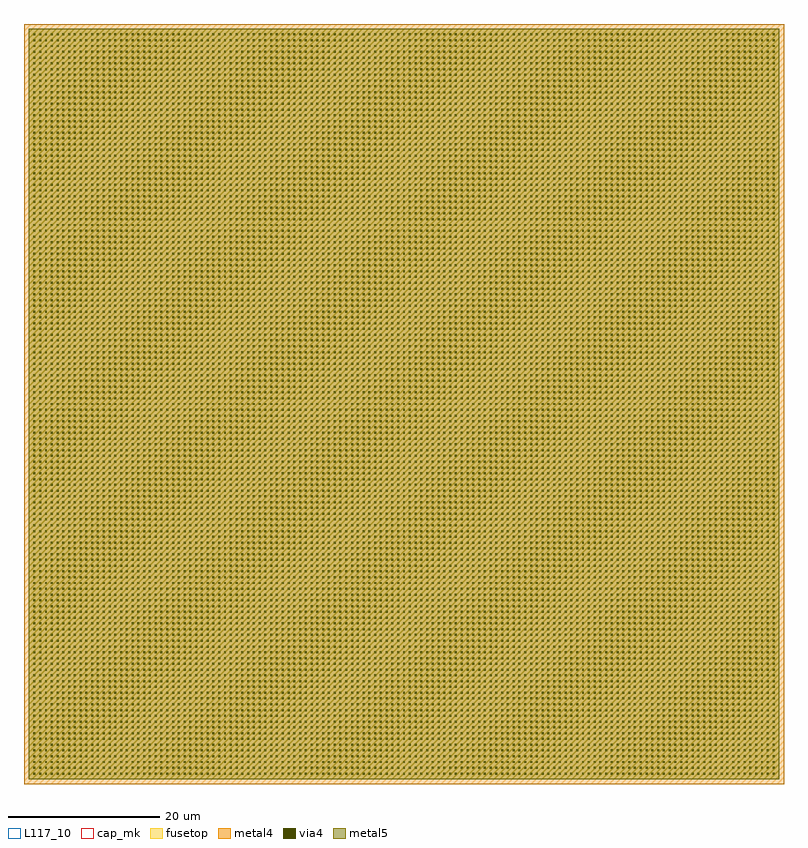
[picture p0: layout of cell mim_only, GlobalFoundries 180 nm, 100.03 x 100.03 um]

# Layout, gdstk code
import gdstk
lib = gdstk.Library(unit=1e-6, precision=1e-09)
def R(c, l, rs):  # rectangles x0, y0, x1, y1
    for r in rs: c.add(gdstk.rectangle(r[:2], r[2:], *l))
def A(c, l, x, y, w, h, nx, ny, dx, dy):  # array of equal rectangles
    R(c, l, [(x+i*dx, y+j*dy, x+i*dx+w, y+j*dy+h) for i in range(nx) for j in range(ny)])
via4 = (41, 0)
metal4 = (46, 0)
fusetop = (75, 0)
metal5 = (81, 0)
cap_mk = (117, 5)
L117_10 = (117, 10)

mim_only = lib.new_cell('mim_only')
A(mim_only, via4, 0.645, 0.645, 0.26, 0.26, 129, 129, 0.76, 0.76)
R(mim_only, metal4, [(-0.6,-0.6,99.43,99.43)])
R(mim_only, fusetop, [(0,0,98.83,98.83)])
R(mim_only, metal5, [(0,0,98.83,98.83)])
R(mim_only, cap_mk, [(-0.6,-0.6,99.43,99.43)])
R(mim_only, L117_10, [(0,0,98.83,0.1)])

lib.write_gds('mim_only.gds')
